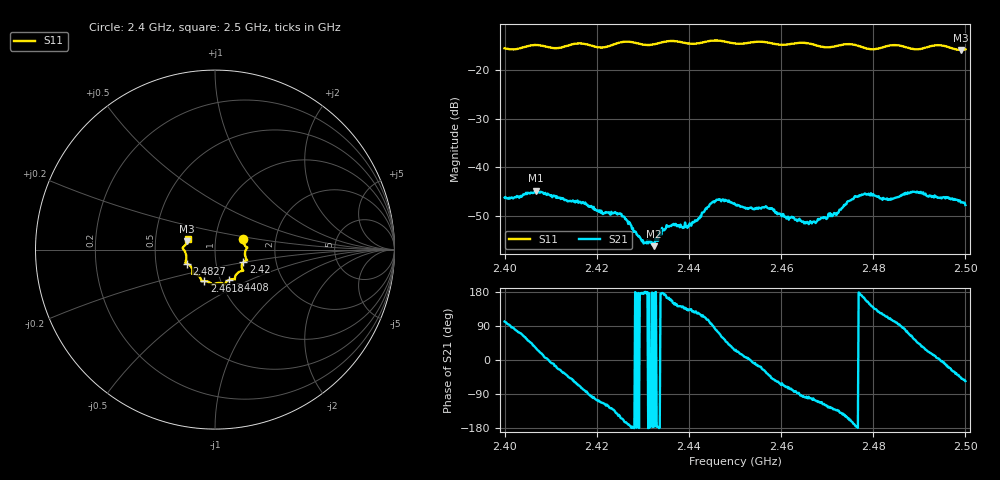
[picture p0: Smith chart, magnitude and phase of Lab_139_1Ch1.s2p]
# Hz S RI R 50
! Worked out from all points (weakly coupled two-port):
!   601 points, 2.4 GHz to 2.5 GHz, reference 50 ohm
!   highest |S21| = -44.83 dB at 2.4068 GHz (marker M1); lowest = -56.2 dB at 2.4323 GHz (marker M2)
!   lowest |S11| = -15.8 dB at 2.499 GHz (marker M3), VSWR 1.38, Z = 36.5 + j3.52 ohm
!   |S11| at or under -10 dB: start of sweep to end of sweep
!   S12 and S22 are empty: the file has one direction only
!   S11 on the Smith chart (normalised r, x): 2.4 GHz: 1.36, +0.17; 2.42 GHz: 1.36, -0.19; 2.4408 GHz: 1.10, -0.39; 2.4618 GHz: 0.84, -0.30; 2.4827 GHz: 0.72, -0.12; 2.5 GHz: 0.73, +0.09
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2.4e9  0.1562 0.0617  -0.000971 0.00478  0 0  0 0
2.406833e9  0.1809 0.0113  0.00492 0.00294  0 0  0 0
2.416667e9  0.1783 -0.0594  0.00116 -0.0041  0 0  0 0
2.42e9  0.1581 -0.0694  -0.00099 -0.00346  0 0  0 0
2.425333e9  0.1559 -0.1152  -0.00299 -0.00144  0 0  0 0
2.43e9  0.1352 -0.124  -0.00177 8.72e-05  0 0  0 0
2.432333e9  0.1158 -0.1426  -0.00154 0.000101  0 0  0 0
2.433333e9  0.1119 -0.1521  -0.00175 -8.79e-05  0 0  0 0
2.435667e9  0.1106 -0.1656  -0.00235 0.000666  0 0  0 0
2.440833e9  0.0791 -0.169  -0.00168 0.00216  0 0  0 0
2.445667e9  0.0522 -0.195  0.000564 0.00445  0 0  0 0
2.45e9  0.0276 -0.1858  0.00375 0.00176  0 0  0 0
2.457167e9  -0.0191 -0.1912  0.00301 -0.00231  0 0  0 0
2.461833e9  -0.0602 -0.1752  0.000748 -0.00294  0 0  0 0
2.466667e9  -0.077 -0.1685  -0.000548 -0.00258  0 0  0 0
2.472e9  -0.1146 -0.1349  -0.00218 -0.00235  0 0  0 0
2.4765e9  -0.1258 -0.1278  -0.00495 -0.000296  0 0  0 0
2.482667e9  -0.1567 -0.0778  -0.00199 0.00426  0 0  0 0
2.483333e9  -0.161 -0.0764  -0.00158 0.00442  0 0  0 0
2.489e9  -0.16 -0.0365  0.00331 0.00449  0 0  0 0
2.499e9  -0.1543 0.047  0.003 -0.00313  0 0  0 0
2.5e9  -0.1517 0.0615  0.0023 -0.00337  0 0  0 0
